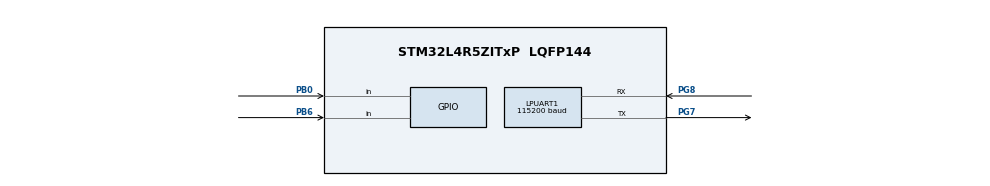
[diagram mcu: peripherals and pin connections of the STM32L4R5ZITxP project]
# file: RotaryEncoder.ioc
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LPUART1.BaudRate=115200
LPUART1.WordLength=UART_WORDLENGTH_8B
Mcu.Family=STM32L4
Mcu.Name=STM32L4R5ZITxP
Mcu.Package=LQFP144
NVIC.PriorityGroup=NVIC_PRIORITYGROUP_4
PA0.Signal=S_TIM2_CH1
PA1.Signal=ADCx_IN6
PA10.Signal=USB_OTG_FS_ID
PA13\ (JTMS/SWDIO).Signal=SYS_JTMS-SWDIO
PA14\ (JTCK/SWCLK).Signal=SYS_JTCK-SWCLK
PA3.Signal=ADCx_IN8
PA4.Signal=SPI1_NSS
PA5.Signal=SPI1_SCK
PA6.Signal=SPI1_MISO
PA7.Signal=SPI1_MOSI
PA8.Signal=USB_OTG_FS_SOF
PA9.Signal=USB_OTG_FS_VBUS
PB0.Signal=GPIO_Input
PB10.Signal=S_TIM2_CH3
PB12.Signal=SAI2_FS_A
PB13.Signal=SAI2_SCK_A
PB14.Signal=S_TIM15_CH1
PB15.Signal=SAI2_SD_A
PB2.Signal=COMP1_INP
PB3\ (JTDO/TRACESWO).Signal=SPI3_SCK
PB4\ (NJTRST).Signal=SPI3_MISO
PB5.Signal=SPI3_MOSI
PB6.Signal=GPIO_Input
PB8.Signal=I2C1_SCL
PB9.Signal=I2C1_SDA
PC0.Signal=ADCx_IN1
PC1.Signal=ADCx_IN2
PC10.Signal=SDMMC1_D2
PC11.Signal=SDMMC1_D3
PC12.Signal=SDMMC1_CK
PC13.Signal=SYS_WKUP2
PC14-OSC32_IN\ (PC14).Signal=RCC_OSC32_IN
PC15-OSC32_OUT\ (PC15).Signal=RCC_OSC32_OUT
PC2.Signal=ADCx_IN3
PC3.Signal=ADCx_IN4
PC4.Signal=ADCx_IN13
PC5.Signal=ADCx_IN14
PC6.Signal=SAI2_MCLK_A
PC7.Signal=S_TIM3_CH2
PC8.Signal=SDMMC1_D0
PC9.Signal=SDMMC1_D1
PD0.Signal=CAN1_RX
PD14.Signal=S_TIM4_CH3
PD15.Signal=S_TIM4_CH4
PD2.Signal=SDMMC1_CMD
PD3.Signal=USART2_CTS
PD4.Signal=USART2_RTS
PD5.Signal=USART2_TX
PD6.Signal=USART2_RX
PD8.Signal=USART3_TX
PD9.Signal=USART3_RX
PE0.Signal=S_TIM4_ETR
PE10.Signal=TIM1_CH2N
PE11.Signal=S_TIM1_CH2
PE12.Signal=TIM1_CH3N
PE13.Signal=S_TIM1_CH3
PE14.Signal=TIM1_BKIN2
PE15.Signal=TIM1_BKIN
PE2.Signal=SAI1_MCLK_A
PE3.Signal=SAI1_SD_B
PE7.Signal=S_TIM1_ETR
PE8.Signal=TIM1_CH1N
PE9.Signal=S_TIM1_CH1
PF0.Signal=I2C2_SDA
PF1.Signal=I2C2_SCL
PF2.Signal=I2C2_SMBA
PF7.Signal=SAI1_MCLK_B
PG7.Mode=Asynchronous
PG7.Signal=LPUART1_TX
PG8.Mode=Asynchronous
PG8.Signal=LPUART1_RX
PH0-OSC_IN\ (PH0).Signal=RCC_OSC_IN
PH1-OSC_OUT\ (PH1).Signal=RCC_OSC_OUT
ProjectManager.HeapSize=0x200
ProjectManager.StackSize=0x400
ProjectManager.TargetToolchain=STM32CubeIDE
RCC.HSE_VALUE=8000000
RCC.HSI48_VALUE=48000000
RCC.HSI_VALUE=16000000
RCC.LSE_VALUE=32768
RCC.MSI_VALUE=4000000
RCC.VCOOutputFreq_Value=32000000
SH.ADCx_IN1.0=ADC1_IN1
SH.ADCx_IN13.0=ADC1_IN13
SH.ADCx_IN14.0=ADC1_IN14
SH.ADCx_IN2.0=ADC1_IN2
SH.ADCx_IN3.0=ADC1_IN3
SH.ADCx_IN4.0=ADC1_IN4
SH.ADCx_IN6.0=ADC1_IN6
SH.ADCx_IN8.0=ADC1_IN8
SH.S_TIM15_CH1.0=TIM15_CH1
SH.S_TIM1_CH1.0=TIM1_CH1
SH.S_TIM1_CH2.0=TIM1_CH2
SH.S_TIM1_CH3.0=TIM1_CH3
SH.S_TIM1_ETR.0=TIM1_ETR
SH.S_TIM2_CH1.0=TIM2_CH1
SH.S_TIM2_CH3.0=TIM2_CH3
SH.S_TIM3_CH2.0=TIM3_CH2
SH.S_TIM4_CH3.0=TIM4_CH3
SH.S_TIM4_CH4.0=TIM4_CH4
SH.S_TIM4_ETR.0=TIM4_ETR
board=NUCLEO-L4R5ZI-P

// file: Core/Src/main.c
/* USER CODE BEGIN Header */
/**
  ******************************************************************************
  * @file           : main.c
  * @brief          : Main program body
  ******************************************************************************
  * @attention
  *
  * Copyright (c) 2024 STMicroelectronics.
  * All rights reserved.
  *
  * This software is licensed under terms that can be found in the LICENSE file
  * in the root directory of this software component.
  * If no LICENSE file comes with this software, it is provided AS-IS.
  *
  ******************************************************************************
  */
/* USER CODE END Header */
#include "main.h"

/* USER CODE BEGIN Includes */
#include "stdio.h"
#include <stdbool.h>
/* USER CODE END Includes */

UART_HandleTypeDef hlpuart1;

void SystemClock_Config(void);
static void MX_GPIO_Init(void);
static void MX_LPUART1_UART_Init(void);

int main(void)
{

  /* MCU Configuration--------------------------------------------------------*/

  /* Reset of all peripherals, Initializes the Flash interface and the Systick. */
  HAL_Init();

  /* Configure the system clock */
  SystemClock_Config();

  /* Initialize all configured peripherals */
  MX_GPIO_Init();
  MX_LPUART1_UART_Init();
  /* USER CODE BEGIN 2 */

  // for game play, decide how starting position should be translated
  int encoderPos = 0;
  int aLast;
  int aCurr;
  bool bCW = false;

  aLast = HAL_GPIO_ReadPin(GPIOB, GPIO_PIN_0);
  /* USER CODE END 2 */

  /* Infinite loop */
  /* USER CODE BEGIN WHILE */
  while (1)
  {

	 aCurr = HAL_GPIO_ReadPin(GPIOB, GPIO_PIN_0);

	 if (aCurr != aLast){ // Means the knob is rotating
		 // if the knob is rotating, we need to determine direction
		 // We do that by reading pin B.
		 if (HAL_GPIO_ReadPin(GPIOB, GPIO_PIN_6) != aCurr) { // Means pin A Changed first - clockwise
			 encoderPos++;
			 bCW = true;
		 } else {// Otherwise B changed first and we're moving CCW
			 bCW = false;
			 encoderPos--;
		 }
		 printf("%s", "Rotated: ");

		 if (bCW){
			 printf("%s\n\r","clockwise");
		 }else{
			 printf("%s\n\r", "counterclockwise");
		 }
			 printf("%s","Encoder Position: ");
			 printf("%d\n\r", encoderPos);
		 }
	 aLast = aCurr;
    /* USER CODE END WHILE */

  }
}

void SystemClock_Config(void)
{
  RCC_OscInitTypeDef RCC_OscInitStruct = {0};
  RCC_ClkInitTypeDef RCC_ClkInitStruct = {0};

  /** Configure the main internal regulator output voltage
  */
  if (HAL_PWREx_ControlVoltageScaling(PWR_REGULATOR_VOLTAGE_SCALE1) != HAL_OK)
  {
    Error_Handler();
  }

  /** Initializes the RCC Oscillators according to the specified parameters
  * in the RCC_OscInitTypeDef structure.
  */
  RCC_OscInitStruct.OscillatorType = RCC_OSCILLATORTYPE_MSI;
  RCC_OscInitStruct.MSIState = RCC_MSI_ON;
  RCC_OscInitStruct.MSICalibrationValue = 0;
  RCC_OscInitStruct.MSIClockRange = RCC_MSIRANGE_6;
  RCC_OscInitStruct.PLL.PLLState = RCC_PLL_NONE;
  if (HAL_RCC_OscConfig(&RCC_OscInitStruct) != HAL_OK)
  {
    Error_Handler();
  }

  /** Initializes the CPU, AHB and APB buses clocks
  */
  RCC_ClkInitStruct.ClockType = RCC_CLOCKTYPE_HCLK|RCC_CLOCKTYPE_SYSCLK
                              |RCC_CLOCKTYPE_PCLK1|RCC_CLOCKTYPE_PCLK2;
  RCC_ClkInitStruct.SYSCLKSource = RCC_SYSCLKSOURCE_MSI;
  RCC_ClkInitStruct.AHBCLKDivider = RCC_SYSCLK_DIV1;
  RCC_ClkInitStruct.APB1CLKDivider = RCC_HCLK_DIV1;
  RCC_ClkInitStruct.APB2CLKDivider = RCC_HCLK_DIV1;

  if (HAL_RCC_ClockConfig(&RCC_ClkInitStruct, FLASH_LATENCY_0) != HAL_OK)
  {
    Error_Handler();
  }
}

static void MX_LPUART1_UART_Init(void)
{

  hlpuart1.Instance = LPUART1;
  hlpuart1.Init.BaudRate = 115200;
  hlpuart1.Init.WordLength = UART_WORDLENGTH_8B;
  hlpuart1.Init.StopBits = UART_STOPBITS_1;
  hlpuart1.Init.Parity = UART_PARITY_NONE;
  hlpuart1.Init.Mode = UART_MODE_TX_RX;
  hlpuart1.Init.HwFlowCtl = UART_HWCONTROL_NONE;
  hlpuart1.Init.OneBitSampling = UART_ONE_BIT_SAMPLE_DISABLE;
  hlpuart1.Init.ClockPrescaler = UART_PRESCALER_DIV1;
  hlpuart1.AdvancedInit.AdvFeatureInit = UART_ADVFEATURE_NO_INIT;
  hlpuart1.FifoMode = UART_FIFOMODE_DISABLE;
  if (HAL_UART_Init(&hlpuart1) != HAL_OK)
  {
    Error_Handler();
  }
  if (HAL_UARTEx_SetTxFifoThreshold(&hlpuart1, UART_TXFIFO_THRESHOLD_1_8) != HAL_OK)
  {
    Error_Handler();
  }
  if (HAL_UARTEx_SetRxFifoThreshold(&hlpuart1, UART_RXFIFO_THRESHOLD_1_8) != HAL_OK)
  {
    Error_Handler();
  }
  if (HAL_UARTEx_DisableFifoMode(&hlpuart1) != HAL_OK)
  {
    Error_Handler();
  }

}

static void MX_GPIO_Init(void)
{
  GPIO_InitTypeDef GPIO_InitStruct = {0};

  /* GPIO Ports Clock Enable */
  __HAL_RCC_GPIOE_CLK_ENABLE();
  __HAL_RCC_GPIOC_CLK_ENABLE();
  __HAL_RCC_GPIOF_CLK_ENABLE();
  __HAL_RCC_GPIOH_CLK_ENABLE();
  __HAL_RCC_GPIOA_CLK_ENABLE();
  __HAL_RCC_GPIOB_CLK_ENABLE();
  __HAL_RCC_GPIOD_CLK_ENABLE();
  __HAL_RCC_GPIOG_CLK_ENABLE();
  HAL_PWREx_EnableVddIO2();

  /*Configure GPIO pins : PE2 PE3 */
  GPIO_InitStruct.Pin = GPIO_PIN_2|GPIO_PIN_3;
  GPIO_InitStruct.Mode = GPIO_MODE_AF_PP;
  GPIO_InitStruct.Pull = GPIO_NOPULL;
  GPIO_InitStruct.Speed = GPIO_SPEED_FREQ_LOW;
  GPIO_InitStruct.Alternate = GPIO_AF13_SAI1;
  HAL_GPIO_Init(GPIOE, &GPIO_InitStruct);

  /*Configure GPIO pins : PF0 PF1 PF2 */
  GPIO_InitStruct.Pin = GPIO_PIN_0|GPIO_PIN_1|GPIO_PIN_2;
  GPIO_InitStruct.Mode = GPIO_MODE_AF_OD;
  GPIO_InitStruct.Pull = GPIO_NOPULL;
  GPIO_InitStruct.Speed = GPIO_SPEED_FREQ_VERY_HIGH;
  GPIO_InitStruct.Alternate = GPIO_AF4_I2C2;
  HAL_GPIO_Init(GPIOF, &GPIO_InitStruct);

  /*Configure GPIO pin : PF7 */
  GPIO_InitStruct.Pin = GPIO_PIN_7;
  GPIO_InitStruct.Mode = GPIO_MODE_AF_PP;
  GPIO_InitStruct.Pull = GPIO_NOPULL;
  GPIO_InitStruct.Speed = GPIO_SPEED_FREQ_LOW;
  GPIO_InitStruct.Alternate = GPIO_AF13_SAI1;
  HAL_GPIO_Init(GPIOF, &GPIO_InitStruct);

  /*Configure GPIO pins : PC0 PC1 PC2 PC3
                           PC4 PC5 */
  GPIO_InitStruct.Pin = GPIO_PIN_0|GPIO_PIN_1|GPIO_PIN_2|GPIO_PIN_3
                          |GPIO_PIN_4|GPIO_PIN_5;
  GPIO_InitStruct.Mode = GPIO_MODE_ANALOG_ADC_CONTROL;
  GPIO_InitStruct.Pull = GPIO_NOPULL;
  HAL_GPIO_Init(GPIOC, &GPIO_InitStruct);

  /*Configure GPIO pin : PA0 */
  GPIO_InitStruct.Pin = GPIO_PIN_0;
  GPIO_InitStruct.Mode = GPIO_MODE_AF_PP;
  GPIO_InitStruct.Pull = GPIO_NOPULL;
  GPIO_InitStruct.Speed = GPIO_SPEED_FREQ_LOW;
  GPIO_InitStruct.Alternate = GPIO_AF1_TIM2;
  HAL_GPIO_Init(GPIOA, &GPIO_InitStruct);

  /*Configure GPIO pins : PA1 PA3 */
  GPIO_InitStruct.Pin = GPIO_PIN_1|GPIO_PIN_3;
  GPIO_InitStruct.Mode = GPIO_MODE_ANALOG_ADC_CONTROL;
  GPIO_InitStruct.Pull = GPIO_NOPULL;
  HAL_GPIO_Init(GPIOA, &GPIO_InitStruct);

  /*Configure GPIO pins : PA4 PA5 PA6 PA7 */
  GPIO_InitStruct.Pin = GPIO_PIN_4|GPIO_PIN_5|GPIO_PIN_6|GPIO_PIN_7;
  GPIO_InitStruct.Mode = GPIO_MODE_AF_PP;
  GPIO_InitStruct.Pull = GPIO_NOPULL;
  GPIO_InitStruct.Speed = GPIO_SPEED_FREQ_VERY_HIGH;
  GPIO_InitStruct.Alternate = GPIO_AF5_SPI1;
  HAL_GPIO_Init(GPIOA, &GPIO_InitStruct);

  /*Configure GPIO pins : PB0 PB6 */
  GPIO_InitStruct.Pin = GPIO_PIN_0|GPIO_PIN_6;
  GPIO_InitStruct.Mode = GPIO_MODE_INPUT;
  GPIO_InitStruct.Pull = GPIO_NOPULL;
  HAL_GPIO_Init(GPIOB, &GPIO_InitStruct);

  /*Configure GPIO pin : PB2 */
  GPIO_InitStruct.Pin = GPIO_PIN_2;
  GPIO_InitStruct.Mode = GPIO_MODE_ANALOG;
  GPIO_InitStruct.Pull = GPIO_NOPULL;
  HAL_GPIO_Init(GPIOB, &GPIO_InitStruct);

  /*Configure GPIO pins : PE7 PE8 PE9 PE10
                           PE11 PE12 PE13 */
  GPIO_InitStruct.Pin = GPIO_PIN_7|GPIO_PIN_8|GPIO_PIN_9|GPIO_PIN_10
                          |GPIO_PIN_11|GPIO_PIN_12|GPIO_PIN_13;
  GPIO_InitStruct.Mode = GPIO_MODE_AF_PP;
  GPIO_InitStruct.Pull = GPIO_NOPULL;
  GPIO_InitStruct.Speed = GPIO_SPEED_FREQ_LOW;
  GPIO_InitStruct.Alternate = GPIO_AF1_TIM1;
  HAL_GPIO_Init(GPIOE, &GPIO_InitStruct);

  /*Configure GPIO pins : PE14 PE15 */
  GPIO_InitStruct.Pin = GPIO_PIN_14|GPIO_PIN_15;
  GPIO_InitStruct.Mode = GPIO_MODE_AF_PP;
  GPIO_InitStruct.Pull = GPIO_NOPULL;
  GPIO_InitStruct.Speed = GPIO_SPEED_FREQ_LOW;
  GPIO_InitStruct.Alternate = GPIO_AF3_TIM1_COMP1;
  HAL_GPIO_Init(GPIOE, &GPIO_InitStruct);

  /*Configure GPIO pin : PB10 */
  GPIO_InitStruct.Pin = GPIO_PIN_10;
  GPIO_InitStruct.Mode = GPIO_MODE_AF_PP;
  GPIO_InitStruct.Pull = GPIO_NOPULL;
  GPIO_InitStruct.Speed = GPIO_SPEED_FREQ_LOW;
  GPIO_InitStruct.Alternate = GPIO_AF1_TIM2;
  HAL_GPIO_Init(GPIOB, &GPIO_InitStruct);

  /*Configure GPIO pins : PB12 PB13 PB15 */
  GPIO_InitStruct.Pin = GPIO_PIN_12|GPIO_PIN_13|GPIO_PIN_15;
  GPIO_InitStruct.Mode = GPIO_MODE_AF_PP;
  GPIO_InitStruct.Pull = GPIO_NOPULL;
  GPIO_InitStruct.Speed = GPIO_SPEED_FREQ_LOW;
  GPIO_InitStruct.Alternate = GPIO_AF13_SAI2;
  HAL_GPIO_Init(GPIOB, &GPIO_InitStruct);

  /*Configure GPIO pin : PB14 */
  GPIO_InitStruct.Pin = GPIO_PIN_14;
  GPIO_InitStruct.Mode = GPIO_MODE_AF_PP;
  GPIO_InitStruct.Pull = GPIO_NOPULL;
  GPIO_InitStruct.Speed = GPIO_SPEED_FREQ_LOW;
  GPIO_InitStruct.Alternate = GPIO_AF14_TIM15;
  HAL_GPIO_Init(GPIOB, &GPIO_InitStruct);

  /*Configure GPIO pins : PD8 PD9 */
  GPIO_InitStruct.Pin = GPIO_PIN_8|GPIO_PIN_9;
  GPIO_InitStruct.Mode = GPIO_MODE_AF_PP;
  GPIO_InitStruct.Pull = GPIO_NOPULL;
  GPIO_InitStruct.Speed = GPIO_SPEED_FREQ_VERY_HIGH;
  GPIO_InitStruct.Alternate = GPIO_AF7_USART3;
  HAL_GPIO_Init(GPIOD, &GPIO_InitStruct);

  /*Configure GPIO pins : PD14 PD15 */
  GPIO_InitStruct.Pin = GPIO_PIN_14|GPIO_PIN_15;
  GPIO_InitStruct.Mode = GPIO_MODE_AF_PP;
  GPIO_InitStruct.Pull = GPIO_NOPULL;
  GPIO_InitStruct.Speed = GPIO_SPEED_FREQ_LOW;
  GPIO_InitStruct.Alternate = GPIO_AF2_TIM4;
  HAL_GPIO_Init(GPIOD, &GPIO_InitStruct);

  /*Configure GPIO pin : PC6 */
  GPIO_InitStruct.Pin = GPIO_PIN_6;
  GPIO_InitStruct.Mode = GPIO_MODE_AF_PP;
  GPIO_InitStruct.Pull = GPIO_NOPULL;
  GPIO_InitStruct.Speed = GPIO_SPEED_FREQ_LOW;
  GPIO_InitStruct.Alternate = GPIO_AF13_SAI2;
  HAL_GPIO_Init(GPIOC, &GPIO_InitStruct);

  /*Configure GPIO pin : PC7 */
  GPIO_InitStruct.Pin = GPIO_PIN_7;
  GPIO_InitStruct.Mode = GPIO_MODE_AF_PP;
  GPIO_InitStruct.Pull = GPIO_NOPULL;
  GPIO_InitStruct.Speed = GPIO_SPEED_FREQ_LOW;
  GPIO_InitStruct.Alternate = GPIO_AF2_TIM3;
  HAL_GPIO_Init(GPIOC, &GPIO_InitStruct);

  /*Configure GPIO pins : PC8 PC9 PC10 PC11
                           PC12 */
  GPIO_InitStruct.Pin = GPIO_PIN_8|GPIO_PIN_9|GPIO_PIN_10|GPIO_PIN_11
                          |GPIO_PIN_12;
  GPIO_InitStruct.Mode = GPIO_MODE_AF_PP;
  GPIO_InitStruct.Pull = GPIO_NOPULL;
  GPIO_InitStruct.Speed = GPIO_SPEED_FREQ_VERY_HIGH;
  GPIO_InitStruct.Alternate = GPIO_AF12_SDMMC1;
  HAL_GPIO_Init(GPIOC, &GPIO_InitStruct);

  /*Configure GPIO pins : PA8 PA10 */
  GPIO_InitStruct.Pin = GPIO_PIN_8|GPIO_PIN_10;
  GPIO_InitStruct.Mode = GPIO_MODE_AF_PP;
  GPIO_InitStruct.Pull = GPIO_NOPULL;
  GPIO_InitStruct.Speed = GPIO_SPEED_FREQ_VERY_HIGH;
  GPIO_InitStruct.Alternate = GPIO_AF10_OTG_FS;
  HAL_GPIO_Init(GPIOA, &GPIO_InitStruct);

  /*Configure GPIO pin : PA9 */
  GPIO_InitStruct.Pin = GPIO_PIN_9;
  GPIO_InitStruct.Mode = GPIO_MODE_INPUT;
  GPIO_InitStruct.Pull = GPIO_NOPULL;
  HAL_GPIO_Init(GPIOA, &GPIO_InitStruct);

  /*Configure GPIO pin : PD0 */
  GPIO_InitStruct.Pin = GPIO_PIN_0;
  GPIO_InitStruct.Mode = GPIO_MODE_AF_PP;
  GPIO_InitStruct.Pull = GPIO_NOPULL;
  GPIO_InitStruct.Speed = GPIO_SPEED_FREQ_VERY_HIGH;
  GPIO_InitStruct.Alternate = GPIO_AF9_CAN1;
  HAL_GPIO_Init(GPIOD, &GPIO_InitStruct);

  /*Configure GPIO pin : PD2 */
  GPIO_InitStruct.Pin = GPIO_PIN_2;
  GPIO_InitStruct.Mode = GPIO_MODE_AF_PP;
  GPIO_InitStruct.Pull = GPIO_NOPULL;
  GPIO_InitStruct.Speed = GPIO_SPEED_FREQ_VERY_HIGH;
  GPIO_InitStruct.Alternate = GPIO_AF12_SDMMC1;
  HAL_GPIO_Init(GPIOD, &GPIO_InitStruct);

  /*Configure GPIO pins : PD3 PD4 PD5 PD6 */
  GPIO_InitStruct.Pin = GPIO_PIN_3|GPIO_PIN_4|GPIO_PIN_5|GPIO_PIN_6;
  GPIO_InitStruct.Mode = GPIO_MODE_AF_PP;
  GPIO_InitStruct.Pull = GPIO_NOPULL;
  GPIO_InitStruct.Speed = GPIO_SPEED_FREQ_VERY_HIGH;
  GPIO_InitStruct.Alternate = GPIO_AF7_USART2;
  HAL_GPIO_Init(GPIOD, &GPIO_InitStruct);

  /*Configure GPIO pins : PB3 PB4 PB5 */
  GPIO_InitStruct.Pin = GPIO_PIN_3|GPIO_PIN_4|GPIO_PIN_5;
  GPIO_InitStruct.Mode = GPIO_MODE_AF_PP;
  GPIO_InitStruct.Pull = GPIO_NOPULL;
  GPIO_InitStruct.Speed = GPIO_SPEED_FREQ_VERY_HIGH;
  GPIO_InitStruct.Alternate = GPIO_AF6_SPI3;
  HAL_GPIO_Init(GPIOB, &GPIO_InitStruct);

  /*Configure GPIO pins : PB8 PB9 */
  GPIO_InitStruct.Pin = GPIO_PIN_8|GPIO_PIN_9;
  GPIO_InitStruct.Mode = GPIO_MODE_AF_OD;
  GPIO_InitStruct.Pull = GPIO_NOPULL;
  GPIO_InitStruct.Speed = GPIO_SPEED_FREQ_VERY_HIGH;
  GPIO_InitStruct.Alternate = GPIO_AF4_I2C1;
  HAL_GPIO_Init(GPIOB, &GPIO_InitStruct);

  /*Configure GPIO pin : PE0 */
  GPIO_InitStruct.Pin = GPIO_PIN_0;
  GPIO_InitStruct.Mode = GPIO_MODE_AF_PP;
  GPIO_InitStruct.Pull = GPIO_NOPULL;
  GPIO_InitStruct.Speed = GPIO_SPEED_FREQ_LOW;
  GPIO_InitStruct.Alternate = GPIO_AF2_TIM4;
  HAL_GPIO_Init(GPIOE, &GPIO_InitStruct);

}

/* USER CODE BEGIN 4 */

#ifdef __GNUC__
#define PUTCHAR_PROTOTYPE int __io_putchar(int ch)
#else
  #define PUTCHAR_PROTOTYPE int fputc(int ch, FILE *f)
#endif /* __GNUC__ */
PUTCHAR_PROTOTYPE
{
  HAL_UART_Transmit(&hlpuart1, (uint8_t *)&ch, 1, 0xFFFF);
  return ch;
}

/* USER CODE END 4 */

void Error_Handler(void)
{
  __disable_irq();
  while (1)
  {
  }
}
